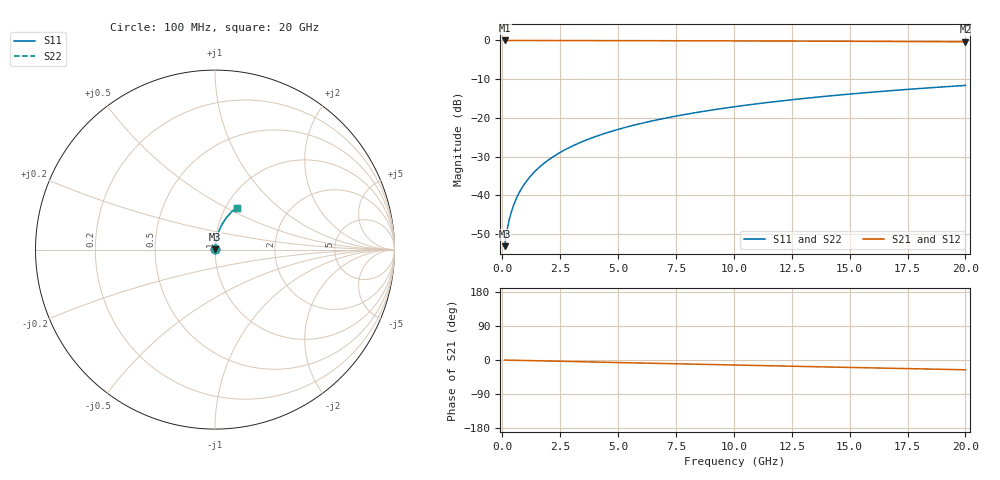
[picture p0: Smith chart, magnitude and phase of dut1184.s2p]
! Touchstone file exported from HFSS 2026.1.0
!  File:  C:/ffzhzh/LocalFiles/Ansys_Project_Files/temp_train_BSMRDL_1184_1783176198_51560.aedt
!  Generated:  10:44:31 PM Jul  4, 2026
!  Design:  BSMRDL
!  Project:  temp_train_BSMRDL_1184_1783176198_51560
! Variables:
!  h_bsmrdl = 3.2um
!  h_ox = 20um
!  h_rdl = 5um
!  h_sub = 80um
!  h_tmrdl = 5um
!  h_tsv = 80um
!  h_via = 3um
!  l_bsmrdl = 324.7um
!  l_sub = 724.7um
!  l_tmrdl = 200um
!  m_sub = 200um
!  pitch = 59.95um
!  r_tsv = 6um
!  s_tmrdl = 10um
!  w_bsmrdl = 27.58um
!  w_sub = 500um
!  w_tmrdl = 12um
!  x_tsv_center1 = 206um
!  x_tsv_center2 = 558.28um
!  x_tsv_center3 = 770.28um
!  x_tsv_center4 = 1122.56um
!  x_tsv_center5 = 1334.56um
!  x_tsv_center6 = 1686.84um
# GHz S MA R 50.000000
! Terminal data exported
! Port[1] = BSM_RDL1_1_T1
! Port[2] = BSM_RDL1_1_T2
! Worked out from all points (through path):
!   200 points, 100 MHz to 20 GHz, reference 50 ohm
!   highest |S21| = -0.01 dB at 100 MHz (marker M1); lowest = -0.4 dB at 20 GHz (marker M2)
!   group delay of S21, straight-line fit = 3.59 ps
!   lowest |S11| = -53.1 dB at 100 MHz (marker M3), VSWR 1.00, Z = 50.2 + j0.157 ohm
!   |S11| at or under -10 dB: start of sweep to end of sweep
!   |S22| runs from -53.1 to -11.6 dB; largest |S21 - S12| = 3.5e-15
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0.1  0.002221 44.7  0.9984 -0.1  0.9984 -0.1  0.002221 44.7
! Gamma 0 0 0 0
! Port Impedance 50 0 50 0
0.2  0.003504 61.5  0.9983 -0.3  0.9983 -0.3  0.003504 61.5
0.3  0.004883 68.6  0.9982 -0.4  0.9982 -0.4  0.004883 68.6
0.4  0.006271 72.6  0.9982 -0.6  0.9982 -0.6  0.006271 72.6
0.5  0.007661 75.1  0.9981 -0.7  0.9981 -0.7  0.007661 75.1
0.6  0.009053 76.9  0.998 -0.8  0.998 -0.8  0.009053 76.9
0.8  0.01185 79.3  0.9979 -1.1  0.9979 -1.1  0.01185 79.3
1.1  0.01607 81.2  0.9978 -1.5  0.9978 -1.5  0.01607 81.2
1.5  0.02174 82.4  0.9977 -2.0  0.9977 -2.0  0.02174 82.4
1.8  0.026 82.8  0.9975 -2.4  0.9975 -2.4  0.026 82.8
2.1  0.03027 83.0  0.9973 -2.8  0.9973 -2.8  0.03027 83.0
2.7  0.03879 82.9  0.9969 -3.6  0.9969 -3.6  0.03879 82.9
3.5  0.05012 82.4  0.9963 -4.7  0.9963 -4.7  0.05012 82.4
4.2  0.05998 81.8  0.9955 -5.6  0.9955 -5.6  0.05998 81.8
5  0.07118 81.0  0.9946 -6.7  0.9946 -6.7  0.07118 81.0
5.9  0.08368 80.0  0.9934 -7.9  0.9934 -7.9  0.08368 80.0
6.8  0.09607 78.9  0.992 -9.1  0.992 -9.1  0.09607 78.9
8.3  0.1165 77.1  0.9894 -11.0  0.9894 -11.0  0.1165 77.1
10.1  0.1405 74.9  0.9858 -13.4  0.9858 -13.4  0.1405 74.9
13.4  0.1832 70.8  0.978 -17.6  0.978 -17.6  0.1832 70.8
16.7  0.224 66.8  0.9689 -21.8  0.9689 -21.8  0.224 66.8
20  0.2627 62.9  0.9588 -25.8  0.9588 -25.8  0.2627 62.9
